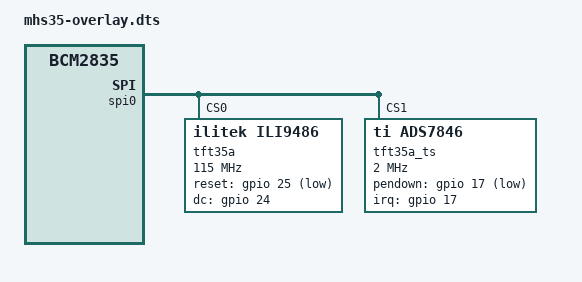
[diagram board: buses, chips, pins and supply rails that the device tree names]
/*
 * Device Tree overlay for MHS-3.5" display (MHS3528) — PROPOSED SOURCE
 * Reconstructed from the binary usr/mhs35-overlay.dtb shipped in
 * goodtft/LCD-show (which ships no source), with one addition:
 * a `drm` override modelled on the stock piscreen overlay, so the
 * panel can bind the kernel ILI9486 DRM driver (waveshare,rpi-lcd-35)
 * instead of fbtft, and coexist with vc4-kms-v3d / Wayland / HDMI.
 *
 * Usage:
 *   fbtft (legacy):  dtoverlay=mhs35:rotate=90
 *   DRM   (new):     dtoverlay=mhs35:rotate=90,drm
 *
 * Build: dtc -@ -I dts -O dtb -o mhs35.dtbo mhs35-overlay-drm.dts
 * Status: DRAFT — build + on-hardware test still required.
 */

/dts-v1/;
/plugin/;

#include <dt-bindings/gpio/gpio.h>

/ {
	compatible = "brcm,bcm2835";

	fragment@0 {
		target = <&spi0>;
		__overlay__ {
			status = "okay";

			spidev@0 { status = "disabled"; };
			spidev@1 { status = "disabled"; };
		};
	};

	fragment@1 {
		target = <&gpio>;
		__overlay__ {
			tft35a_pins: tft35a_pins {
				brcm,pins = <17 25 24>;
				brcm,function = <0 0 0>; /* in in in — as shipped */
			};
		};
	};

	fragment@2 {
		target = <&spi0>;
		__overlay__ {
			/* needed to avoid dtc warning */
			#address-cells = <1>;
			#size-cells = <0>;

			tft35a: tft35a@0 {
				compatible = "ilitek,ili9486";
				reg = <0>;
				pinctrl-names = "default";
				pinctrl-0 = <&tft35a_pins>;

				spi-max-frequency = <115000000>;
				txbuflen = <32768>;
				rotate = <90>;
				bgr;
				fps = <30>;
				buswidth = <8>;
				regwidth = <16>;
				reset-gpios = <&gpio 25 GPIO_ACTIVE_LOW>;
				dc-gpios = <&gpio 24 GPIO_ACTIVE_HIGH>;
				debug = <0>;

				/* MHS35 init sequence, verbatim from the shipped .dtb */
				init = <0x10000f1 0x36 0x04 0x00 0x3c 0x0f 0x8f
					0x10000f2 0x18 0xa3 0x12 0x02 0xb2 0x12 0xff 0x10 0x00
					0x10000f8 0x21 0x04
					0x10000f9 0x00 0x08
					0x1000036 0x08
					0x10000b4 0x00
					0x10000c1 0x41
					0x10000c5 0x00 0x91 0x80 0x00
					0x10000e0 0x0f 0x1f 0x1c 0x0c 0x0f 0x08 0x48 0x98 0x37 0x0a 0x13 0x04 0x11 0x0d 0x00
					0x10000e1 0x0f 0x32 0x2e 0x0b 0x0d 0x05 0x47 0x75 0x37 0x06 0x10 0x03 0x24 0x20 0x00
					0x100003a 0x55
					0x1000011
					0x1000036 0x28
					0x20000ff
					0x1000029>;
			};

			tft35a_ts: tft35a-ts@1 {
				compatible = "ti,ads7846";
				reg = <1>;

				spi-max-frequency = <2000000>;
				interrupts = <17 2>; /* high-to-low edge triggered */
				interrupt-parent = <&gpio>;
				pendown-gpio = <&gpio 17 GPIO_ACTIVE_LOW>;
				ti,x-plate-ohms = /bits/ 16 <60>;
				ti,pressure-max = /bits/ 16 <255>;
			};
		};
	};

	__overrides__ {
		speed =		<&tft35a>,"spi-max-frequency:0";
		txbuflen =	<&tft35a>,"txbuflen:0";
		rotate =	<&tft35a>,"rotate:0",
				<&tft35a>,"rotation:0";
		fps =		<&tft35a>,"fps:0";
		bgr =		<&tft35a>,"bgr:0";
		debug =		<&tft35a>,"debug:0";
		swapxy =	<&tft35a_ts>,"ti,swap-xy?";
		/* NEW: bind the DRM ili9486 driver instead of fbtft,
		   same trick as piscreen's drm override. */
		drm =		<&tft35a>,"compatible=waveshare,rpi-lcd-35",
				<&tft35a>,"reset-gpios:8=",<GPIO_ACTIVE_HIGH>;
	};
};
